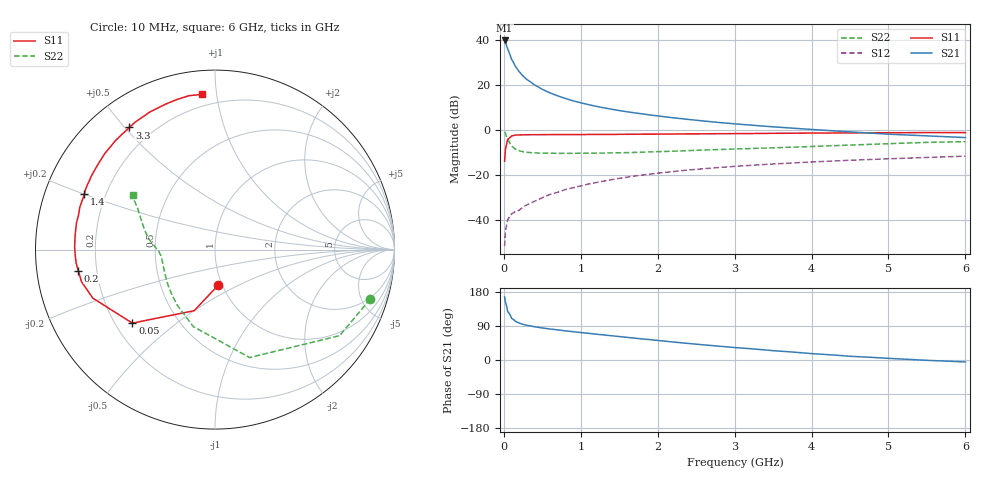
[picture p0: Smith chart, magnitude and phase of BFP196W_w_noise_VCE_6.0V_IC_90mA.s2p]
! Infineon Technologies  Discrete & RF Semiconductors
! BFP196W
! VCE =  6.0 V,  IC =  90 mA
! Common Emitter S-Parameters:  Jan 2017
# GHz  S  MA  R  50
!  f  S11  S21  S12  S22
! GHz  MAG  ANG  MAG  ANG  MAG  ANG  MAG  ANG
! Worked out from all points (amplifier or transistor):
!   77 points, 10 MHz to 6 GHz, reference 50 ohm
!   highest |S21| = 39.7 dB at 10 MHz (marker M1)
!   |S21| within 3 dB of that: start of sweep to 41.5 MHz
!   unconditionally stable (mu >= 1): 511.9 MHz to 3.3 GHz
!   at 130 MHz: K = 0.54, MSG = 33.2 dB, |S12| = -36.7 dB
!   at 2.2 GHz: K = 1.04, MAG = 10.8 dB, |S12| = -18.5 dB
!   at 6 GHz: K = 0.94, MSG = 4.1 dB, |S12| = -11.7 dB
!   lowest NFmin = 1.78 dB at 450 MHz
!   S11 on the Smith chart (normalised r, x): 10 MHz: 0.95, -0.40; 50 MHz: 0.27, -0.36; 200 MHz: 0.13, -0.07; 1.4 GHz: 0.12, +0.20; 3.3 GHz: 0.12, +0.51; 6 GHz: 0.13, +0.91
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0.01  0.2006 -85.3  97 166.5  0.0026 82.6  0.9075 -17.7
0.02  0.3596 -108.8  89.72 153.3  0.0054 68.9  0.8439 -34.6
0.05  0.6159 -138.3  62.44 128.0  0.01 50.1  0.6315 -72.2
0.1  0.7324 -158.3  37.1 110.1  0.0135 45.2  0.4459 -105.7
0.15  0.7651 -166.5  25.76 102.2  0.0153 46.9  0.3739 -124.3
0.2  0.771 -171.3  19.55 97.4  0.0164 51.3  0.3435 -135.3
0.25  0.7773 -174.6  15.73 93.9  0.0193 53.8  0.3269 -143.4
0.3  0.7791 -177.3  13.14 91.5  0.0215 56.0  0.3171 -148.8
0.4  0.7823 179.0  9.929 87.6  0.0259 61.2  0.3077 -156.1
0.5  0.7826 175.8  7.947 84.5  0.031 63.1  0.3032 -160.8
0.6  0.7834 173.4  6.642 81.8  0.0367 64.1  0.3031 -164.1
0.7  0.7844 171.1  5.689 79.5  0.0411 65.9  0.3003 -166.6
0.9  0.7842 166.6  4.421 74.7  0.0518 66.3  0.3013 -170.0
1.1  0.7894 162.8  3.639 70.4  0.0625 66.2  0.303 -172.6
1.4  0.7907 156.9  2.879 64.0  0.0781 65.0  0.3078 -175.8
1.7  0.7983 151.3  2.386 57.7  0.094 63.0  0.3155 -178.8
2.1  0.8061 144.1  1.946 49.6  0.1136 59.3  0.3315 177.8
3.1  0.8262 128.0  1.319 31.4  0.1584 49.9  0.3799 169.4
3.3  0.831 125.0  1.241 28.2  0.1663 48.1  0.3892 167.6
4.1  0.8491 114.0  0.996 15.6  0.1967 41.0  0.4325 159.8
5.1  0.8639 103.2  0.787 3.3  0.2304 32.8  0.4993 150.9
6  0.868 94.9  0.674 -5.2  0.26 25.7  0.5456 146.4
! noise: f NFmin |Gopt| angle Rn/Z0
0.45  1.78  0.58  -175  0.06
0.9  1.93  0.6  -168  0.08
1.9  2.83  0.71  -147  0.22
2.4  3.27  0.75  -142  0.36
